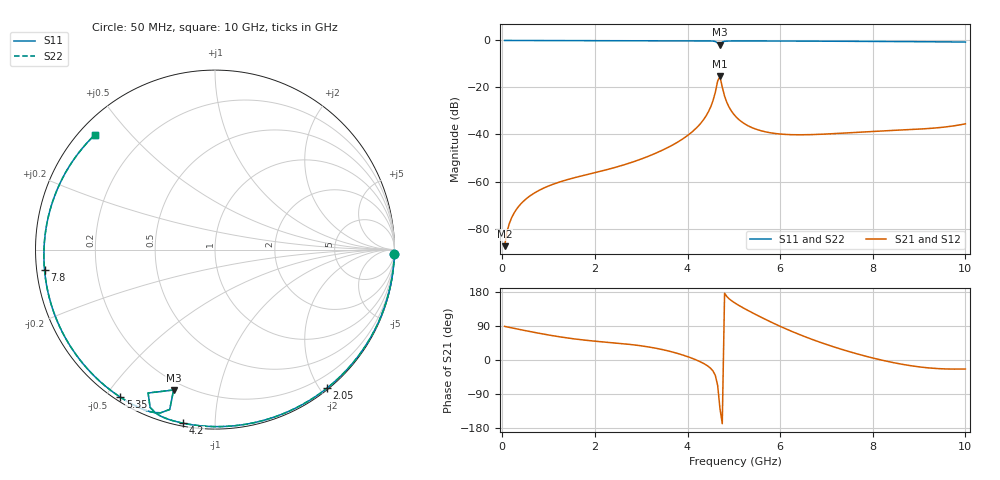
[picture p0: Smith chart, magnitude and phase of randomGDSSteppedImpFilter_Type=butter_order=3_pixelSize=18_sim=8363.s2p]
! freq	dB(S11)	phase(S11)	dB(S12)	phase(S12)
!  dB(S21)	phase(S21)	dB(S22)	phase(S22)
!S-par simulation data
#  GHz  S  DB  R 50
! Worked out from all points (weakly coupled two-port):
!   200 points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, 50 MHz to 10 GHz, reference 50 ohm
!   highest |S21| = -15.31 dB at 4.7 GHz (marker M1); lowest = -87.5 dB at 50 MHz (marker M2)
!   lowest |S11| = -1.8 dB at 4.7 GHz (marker M3), VSWR 9.86, Z = 7.85 - j36.8 ohm
!   |S11| at or under -10 dB: nowhere
!   |S22| runs from -1.8 to 0.0 dB; largest |S21 - S12| = 0
!   S11 on the Smith chart (normalised r, x): 50 MHz: 0, -89; 2.05 GHz: 0.02, -2.09; 4.2 GHz: 0.01, -0.83; 5.35 GHz: 0.02, -0.55; 7.8 GHz: 0.02, -0.06; 10 GHz: 0.04, +0.40
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0.05  -0.00 -1.3  -87.50 88.7  -87.50 88.7  -0.00 -1.3
0.1  -0.00 -2.6  -81.49 87.4  -81.49 87.4  -0.00 -2.6
0.35  -0.01 -8.9  -70.66 81.1  -70.66 81.1  -0.01 -8.9
0.65  -0.02 -16.5  -65.42 73.8  -65.42 73.8  -0.02 -16.5
1.75  -0.06 -43.8  -57.43 52.8  -57.43 52.8  -0.06 -43.8
2.05  -0.07 -51.1  -55.99 49.1  -55.99 49.1  -0.07 -51.1
3.4  -0.11 -82.3  -47.20 29.0  -47.20 29.0  -0.11 -82.4
4.2  -0.14 -100.3  -37.06 -0.5  -37.06 -0.5  -0.14 -100.3
4.5  -0.21 -108.1  -28.27 -22.1  -28.27 -22.1  -0.21 -108.1
4.6  -0.44 -112.3  -22.08 -40.6  -22.08 -40.6  -0.44 -112.4
4.65  -1.09 -115.0  -17.27 -66.8  -17.27 -66.8  -1.10 -115.0
4.7  -1.77 -106.5  -15.31 -127.5  -15.31 -127.5  -1.78 -106.4
4.75  -0.67 -105.8  -19.84 -168.1  -19.84 -168.1  -0.67 -105.8
4.85  -0.28 -110.4  -26.42 167.4  -26.42 167.4  -0.28 -110.4
5.05  -0.20 -115.9  -32.55 148.3  -32.55 148.3  -0.20 -115.9
5.35  -0.20 -122.6  -36.71 127.8  -36.71 127.8  -0.20 -122.6
5.9  -0.23 -134.1  -39.59 94.5  -39.59 94.5  -0.23 -134.1
6.7  -0.29 -150.4  -40.04 53.9  -40.04 53.9  -0.29 -150.4
7.8  -0.39 -173.1  -38.92 11.6  -38.92 11.6  -0.39 -173.1
8.35  -0.44 175.2  -38.35 -4.5  -38.35 -4.5  -0.44 175.1
9.2  -0.55 156.0  -37.46 -20.8  -37.46 -20.8  -0.55 156.0
10  -0.67 136.4  -35.46 -23.8  -35.46 -23.8  -0.67 136.4
